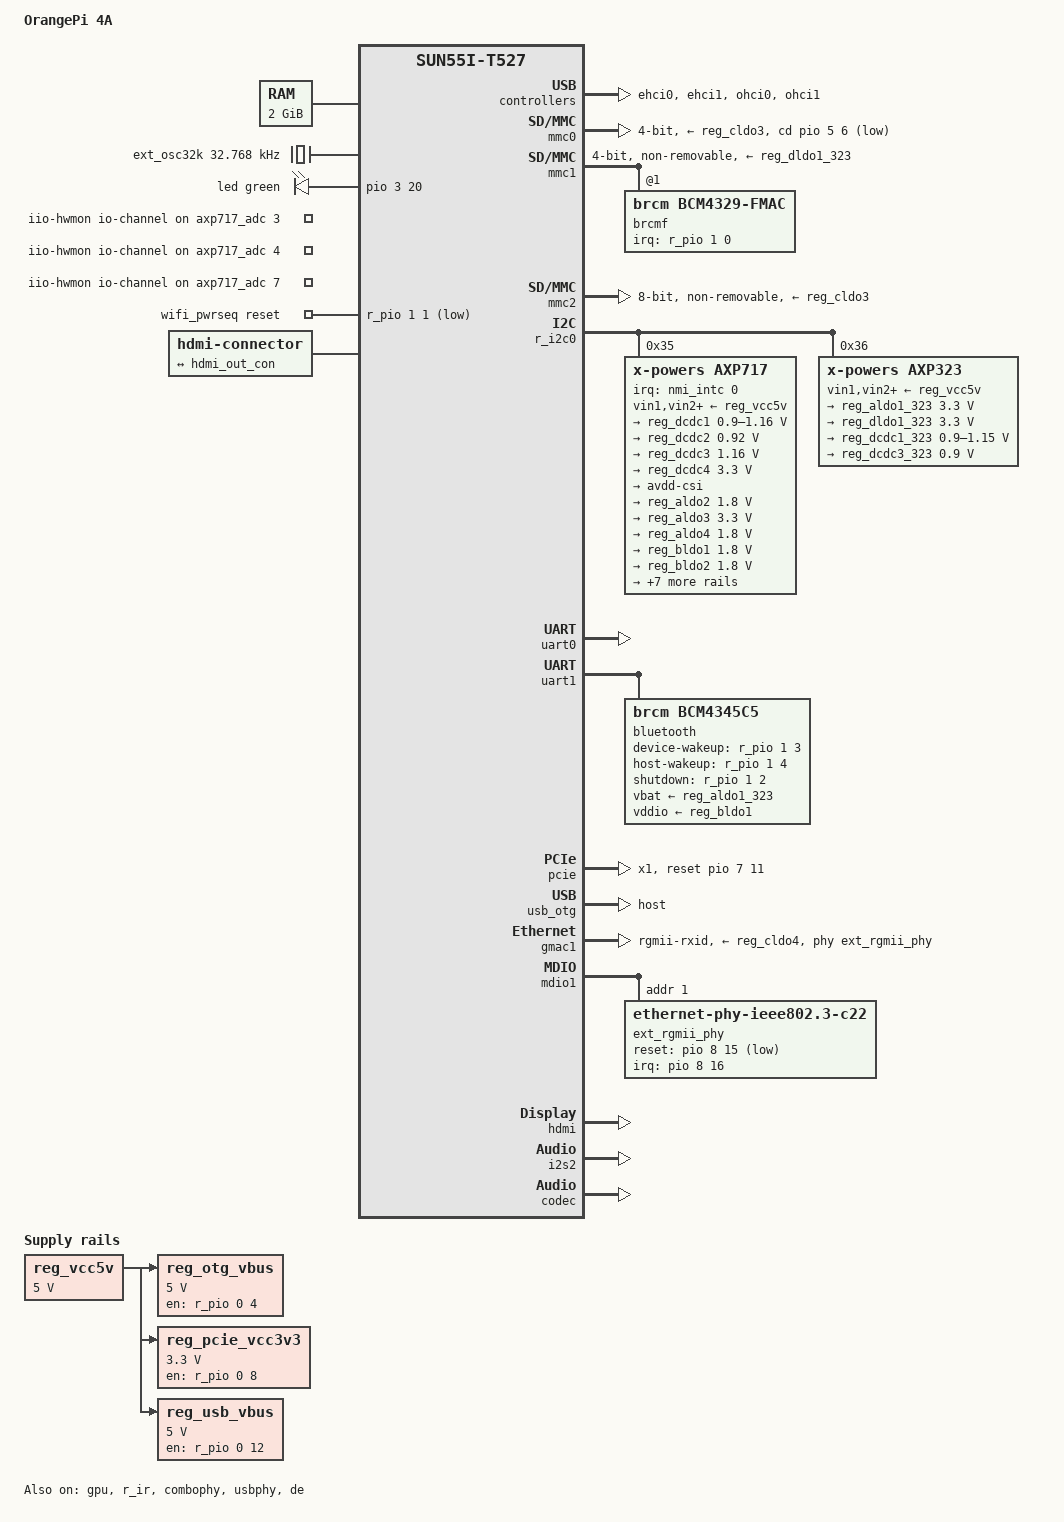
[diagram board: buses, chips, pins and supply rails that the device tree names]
// SPDX-License-Identifier: (GPL-2.0-only OR MIT)
/*
 * Copyright (C) 2025 Chen-Yu Tsai <wens@csie.org>
 */

/dts-v1/;

#include "sun55i-a523.dtsi"

#include <dt-bindings/gpio/gpio.h>
#include <dt-bindings/leds/common.h>

/ {
	model = "OrangePi 4A";
	compatible = "xunlong,orangepi-4a", "allwinner,sun55i-t527";

	aliases {
		serial0 = &uart0;
	};

	chosen {
		#address-cells = <2>;
		#size-cells = <2>;
		ranges;

		stdout-path = "serial0:115200n8";

		/*
		 * Display stage A: HDMI console via SIMPLEDRM using the FB that the
		 * vendor U-Boot leaves painted (logo), with the DE still scanning out after
		 * bootm. Address/size VERIFIED LIVE 2026-07-08: it is the
		 * memreserve that sunxi_drm_kernel_para_flush() adds to the FDT
		 * (/sys/firmware/fdt of the running 6.18): 0xbbea2000 + 0x3fc000
		 * = 5440 (stride) x 768 -> 1360x768 32bpp. NOTE: U-Boot picks the mode
		 * from the connected monitor; if the monitor changes,
		 * re-check against the memreserve in the live FDT. The real format is
		 * ARGB8888 (fb0 on 5.15); we declare x8r8g8b8 (same layout)
		 * so that DRM does not assume alpha blending.
		 */
		framebuffer@bbea2000 {
			compatible = "simple-framebuffer";
			reg = <0x0 0xbbea2000 0x0 0x003fc000>;
			memory-region = <&uboot_fb>;
			width = <1360>;
			height = <768>;
			stride = <5440>;
			format = "x8r8g8b8";
			/*
			 * Claim the display pipeline power domains that U-Boot left
			 * powered on. Without this, as soon as ALL the
			 * pck600 consumers have probed (e.g. panfrost as a
			 * module), its sync_state() sweeps the domains with no
			 * consumer and powers DE and VO0 off -> black screen half-way
			 * through boot (seen live 2026-07-08: DE/VO0 off-0 in
			 * pm_genpd_summary tras modprobe panfrost). simpledrm
			 * supports multiple power-domains and keeps them on.
			 */
			power-domains = <&pck600 PD_DE>, <&pck600 PD_VO0>;
		};
	};

	/*
	 * The vendor U-Boot (v2018.05-t527) does NOT fill in /memory (it assumes the DTB
	 * already carries it, like the vendor one). The mainline DTB left it empty -> the kernel
	 * boots without knowing where the RAM is -> instant silent hang, no
	 * heartbeat. Define a static /memory like the vendor DTB: base 0x40000000.
	 * (On a 2GB board use size 0x80000000 instead of 0x1 0x0.)
	 */
	memory@40000000 {
		device_type = "memory";
		/* OPi4A 2GB: base 0x40000000, size 0x80000000 (2 GiB) */
		reg = <0x0 0x40000000 0x0 0x80000000>;
	};

	/*
	 * The 5.15 BSP reserves this region for BL31 (ARM Trusted Firmware),
	 * the EL3 secure monitor that serves ALL PSCI calls (SMP core
	 * bring-up, idle, reset). The mainline DTB reserved nothing and its
	 * /memory (2GB from 0x40000000) covers 0x48000000 -> the kernel sees those
	 * 16 MB as free RAM, allocates pages there and OVERWRITES BL31. SMP
	 * starts before the heartbeat (BL31 still intact) -> 1 beat; right
	 * after that a PSCI call lands in corrupted code -> hang with the LED
	 * stuck. Reserving the region (like the BSP does) avoids it. no-map = the
	 * kernel does not even map it. The vendor U-Boot v2018 does not inject this
	 * reservation into a foreign DTB, so it has to be static here.
	 */
	reserved-memory {
		#address-cells = <2>;
		#size-cells = <2>;
		ranges;

		/*
		 * The vendor firmware (BL31 + OP-TEE + shared memory) uses SEVERAL
		 * regions that the vendor U-Boot reserves in the 5.15 FDT but NOT in
		 * our foreign DTB. Taken from /proc/iomem of the running 5.15. Reserving
		 * ONLY bl31 let the kernel overwrite OP-TEE/shm -> hang after
		 * 2 beats. Reserve all 4 (like the BSP).
		 */
		/*
		 * no-map on all four: without it they stay in the linear map and a
		 * SPECULATIVE CPU read of RAM protected by the
		 * secure firewall can raise sporadic SErrors even though the
		 * kernel never allocates them.
		 */
		sec-sram1@42350000 {
			reg = <0x0 0x42350000 0x0 0x00230000>;
			no-map;
		};

		sec-sram2@43000000 {
			reg = <0x0 0x43000000 0x0 0x00094000>;
			no-map;
		};

		bl31@48000000 {
			reg = <0x0 0x48000000 0x0 0x01000000>;
			no-map;
		};

		optee@4941d000 {
			reg = <0x0 0x4941d000 0x0 0x00be3000>;
			no-map;
		};

		/*
		 * U-Boot FB for the simple-framebuffer node in /chosen (see the
		 * comment there). U-Boot already adds a plain memreserve for this
		 * region, but that leaves it in the linear map, and on arm64 both
		 * memremap(WC) and ioremap_wc FAIL on mapped RAM ->
		 * simpledrm could not map it. no-map is MANDATORY.
		 */
		uboot_fb: framebuffer@bbea2000 {
			reg = <0x0 0xbbea2000 0x0 0x003fc000>;
			no-map;
		};
	};

	/*
	 * Stub nodes for the vendor U-Boot (v2018.05-t527): its bootm calls
	 * sunxi_drm_kernel_para_flush(), which looks up /soc/sunxi-drm and /soc/de in the
	 * FDT to inject its display parameters. The mainline DTB does not have
	 * them -> the fixup half-fails and corrupts the FDT -> the kernel hangs.
	 * With these empty nodes the fixup completes without error; the mainline kernel
	 * ignores them (no compatible). Do NOT touch U-Boot: the 5.15 BSP needs
	 * esas inyecciones.
	 */
	soc {
		sunxi-drm {
		};

		de {
		};
	};

	ext_osc32k: ext-osc32k-clk {
		#clock-cells = <0>;
		compatible = "fixed-clock";
		clock-frequency = <32768>;
		clock-output-names = "ext_osc32k";
	};

	leds {
		compatible = "gpio-leds";

		/* PWM capable pin, but PWM isn't supported yet. */
		led {
			function = LED_FUNCTION_STATUS;
			color = <LED_COLOR_ID_GREEN>;
			gpios = <&pio 3 20 GPIO_ACTIVE_HIGH>; /* PD20 */
			linux,default-trigger = "heartbeat";
		};
	};

	iio-hwmon {
		compatible = "iio-hwmon";
		io-channels = <&axp717_adc 3>, /* vsys_v */
			      <&axp717_adc 4>, /* pmic_temp */
			      <&axp717_adc 7>; /* bkup_batt_v */
	};

	wifi_pwrseq: pwrseq {
		compatible = "mmc-pwrseq-simple";
		reset-gpios = <&r_pio 1 1 GPIO_ACTIVE_LOW>; /* PM1 */
		clocks = <&rtc CLK_OSC32K_FANOUT>;
		clock-names = "ext_clock";
	};

	reg_otg_vbus: regulator-otg-vbus {
		compatible = "regulator-fixed";
		regulator-name = "otg-vbus";
		regulator-min-microvolt = <5000000>;
		regulator-max-microvolt = <5000000>;
		vin-supply = <&reg_vcc5v>;
		gpio = <&r_pio 0 4 GPIO_ACTIVE_HIGH>;	/* PL4 */
		enable-active-high;
		/*
		 * PL4 feeds the VBUS of port usbc0 (the 2 rear left
		 * USB-A ports). With no ID/CC pin, the OTG driver never got to enable
		 * VBUS -> those 2 ports stayed dead (otg-vbus=disabled).
		 * dr_mode=host: always-on is right for a
		 * host-only port. Confirmed on the board 2026-07-13: all 4 rear ports work.
		 */
		regulator-always-on;
	};

	reg_pcie_vcc3v3: regulator-pcie-vcc3v3 {
		compatible = "regulator-fixed";
		regulator-name = "vcc-pcie-3v3";
		regulator-min-microvolt = <3300000>;
		regulator-max-microvolt = <3300000>;
		vin-supply = <&reg_vcc5v>;
		gpio = <&r_pio 0 8 GPIO_ACTIVE_HIGH>;	/* PL8 */
		enable-active-high;
	};

	reg_usb_vbus: regulator-usb-vbus {
		compatible = "regulator-fixed";
		regulator-name = "usb-vbus";
		regulator-min-microvolt = <5000000>;
		regulator-max-microvolt = <5000000>;
		vin-supply = <&reg_vcc5v>;
		gpio = <&r_pio 0 12 GPIO_ACTIVE_HIGH>;	/* PL12 */
		enable-active-high;
	};

	reg_vcc5v: regulator-vcc5v {
		/* board wide 5V supply from USB type-C port */
		compatible = "regulator-fixed";
		regulator-name = "vcc-5v";
		regulator-min-microvolt = <5000000>;
		regulator-max-microvolt = <5000000>;
		regulator-always-on;
	};
};

/ {
	/*
	 * OPP tables, voltages taken verbatim from the vendor DT
	 * (sun55iw3p1.dtsi), using the worst-case voltage across speed bins
	 * for each frequency so a plain cpufreq-dt (no speed-bin nvmem) is
	 * safe on any chip. Both clusters run to their vendor maximums for
	 * this board's silicon: little 1.416 GHz, big 1.8 GHz (see the speed
	 * bin note in the cluster1 table; 1.992 GHz exists only for bin
	 * vf0400 and needs 1.22 V, beyond this rail's 1.15 V maximum).
	 *
	 * The lowest point is 480 MHz instead of the vendor's 408 MHz: the
	 * CPU PLLs are modelled as plain 24 MHz * N (N >= 20, post-divider
	 * left at /1 by the firmware), so 480 MHz is the real floor. Its
	 * 0.90 V sits within the vendor envelope (408 and 672 MHz both run
	 * at 0.90 V on every speed bin).
	 */
	/*
	 * DCDC1 (vdd-cpul) does not power this cluster alone: the DSU (the
	 * DynamIQ Shared Unit, i.e. the coherent interconnect and the shared
	 * L3) hangs off the very same rail. Each OPP therefore declares a
	 * range instead of an exact voltage. opp_parse_supplies() turns a
	 * single value into u_volt_min == u_volt_max, and with that
	 * regulator_check_consumers() aggregates to min > max and fails the
	 * transition with -EINVAL the moment the other consumer of the rail
	 * asks for a different voltage. The upper bound is 1.15 V, the
	 * highest voltage the vendor tables ever put on this rail.
	 */
	cluster0_opp: opp-table-cluster0 {
		compatible = "operating-points-v2";
		opp-shared;

		opp-480000000 {
			opp-hz = /bits/ 64 <480000000>;
			opp-microvolt = <900000 900000 1150000>;
		};

		opp-792000000 {
			opp-hz = /bits/ 64 <792000000>;
			opp-microvolt = <900000 900000 1150000>;
		};

		opp-1008000000 {
			opp-hz = /bits/ 64 <1008000000>;
			opp-microvolt = <960000 960000 1150000>;
		};

		opp-1224000000 {
			opp-hz = /bits/ 64 <1224000000>;
			opp-microvolt = <1050000 1050000 1150000>;
		};

		opp-1416000000 {
			opp-hz = /bits/ 64 <1416000000>;
			opp-microvolt = <1150000 1150000 1150000>;
		};
	};

	cluster1_opp: opp-table-cluster1 {
		compatible = "operating-points-v2";
		opp-shared;

		opp-480000000 {
			opp-hz = /bits/ 64 <480000000>;
			opp-microvolt = <900000>;
		};

		opp-1008000000 {
			opp-hz = /bits/ 64 <1008000000>;
			opp-microvolt = <900000>;
		};

		opp-1200000000 {
			opp-hz = /bits/ 64 <1200000000>;
			opp-microvolt = <920000>;
		};

		opp-1344000000 {
			opp-hz = /bits/ 64 <1344000000>;
			opp-microvolt = <960000>;
		};

		opp-1488000000 {
			opp-hz = /bits/ 64 <1488000000>;
			opp-microvolt = <1000000>;
		};

		opp-1584000000 {
			opp-hz = /bits/ 64 <1584000000>;
			opp-microvolt = <1050000>;
		};

		/*
		 * 1680/1800 MHz are fused off on vf05xx speed bins (their
		 * vendor-table entries are <0>: not allowed at any voltage).
		 * This board's chip reads bin vf0100 from the SID DVFS word
		 * (0x48 = 0x19 -> combi 0x01), which supports both. A generic
		 * image for unknown silicon must drop these two entries or
		 * gate them on the SID speed bin (sun50i-cpufreq-nvmem style).
		 */
		opp-1680000000 {
			opp-hz = /bits/ 64 <1680000000>;
			opp-microvolt = <1100000>;
		};

		opp-1800000000 {
			opp-hz = /bits/ 64 <1800000000>;
			opp-microvolt = <1150000>;
		};
	};

	/*
	 * GPU OPPs: the five speed-bin-independent points of the vendor
	 * table, plus 696 MHz, which the vendor table gates by SID speed
	 * bin: this board's chip reads dvfs efuse 0x19 (combi 0x01 -> GPU
	 * bin 1), for which the vendor sanctions 696 MHz at 0.90 V.
	 * The five common points divide exactly from the fixed pll-periph0
	 * outputs; 696 MHz instead needs pll-gpu as a live parent, so
	 * pll-gpu is pinned at 696 MHz via assigned-clock-rates below and
	 * only gets enabled while the 696 MHz OPP is selected.
	 *
	 * The vendor table asks for 0.90 V on every point; this board's
	 * vdd-gpu-sys rail (AXP717 DCDC2) is fixed at 0.92 V, so the OPPs
	 * state 0.92 V and voltage transitions are no-ops. The value cannot
	 * be dropped: the OPP core rejects a voltage-less table once
	 * panfrost attaches the mali-supply regulator.
	 */
	gpu_opp_table: opp-table-gpu {
		compatible = "operating-points-v2";

		opp-150000000 {
			opp-hz = /bits/ 64 <150000000>;
			opp-microvolt = <920000>;
		};

		opp-200000000 {
			opp-hz = /bits/ 64 <200000000>;
			opp-microvolt = <920000>;
		};

		opp-300000000 {
			opp-hz = /bits/ 64 <300000000>;
			opp-microvolt = <920000>;
		};

		opp-400000000 {
			opp-hz = /bits/ 64 <400000000>;
			opp-microvolt = <920000>;
		};

		opp-600000000 {
			opp-hz = /bits/ 64 <600000000>;
			opp-microvolt = <920000>;
		};

		opp-696000000 {
			opp-hz = /bits/ 64 <696000000>;
			opp-microvolt = <920000>;
		};
	};
};

/* Little cluster (cpu0-3): AXP717 DCDC1 (vdd-cpul), up to 1.416 GHz. */
&cpu0 {
	cpu-supply = <&reg_dcdc1>;
	operating-points-v2 = <&cluster0_opp>;
};

&cpu1 {
	cpu-supply = <&reg_dcdc1>;
	operating-points-v2 = <&cluster0_opp>;
};

&cpu2 {
	cpu-supply = <&reg_dcdc1>;
	operating-points-v2 = <&cluster0_opp>;
};

&cpu3 {
	cpu-supply = <&reg_dcdc1>;
	operating-points-v2 = <&cluster0_opp>;
};

/* Big cluster (cpu4-7): AXP323 DCDC1 (vdd-cpub), up to 1.8 GHz (bin vf0100). */
&cpu4 {
	cpu-supply = <&reg_dcdc1_323>;
	operating-points-v2 = <&cluster1_opp>;
};

&cpu5 {
	cpu-supply = <&reg_dcdc1_323>;
	operating-points-v2 = <&cluster1_opp>;
};

&cpu6 {
	cpu-supply = <&reg_dcdc1_323>;
	operating-points-v2 = <&cluster1_opp>;
};

&cpu7 {
	cpu-supply = <&reg_dcdc1_323>;
	operating-points-v2 = <&cluster1_opp>;
};

&ehci0 {
	status = "okay";
};

&ehci1 {
	status = "okay";
};

&gpu {
	mali-supply = <&reg_dcdc2>;
	operating-points-v2 = <&gpu_opp_table>;
	assigned-clocks = <&ccu CLK_PLL_GPU>;
	assigned-clock-rates = <696000000>;
	status = "okay";
};

&mmc0 {
	vmmc-supply = <&reg_cldo3>;
	cd-gpios = <&pio 5 6 (GPIO_ACTIVE_LOW | GPIO_PULL_UP)>; /* PF6 */
	bus-width = <4>;
	status = "okay";
};

&mmc1 {
	bus-width = <4>;
	mmc-pwrseq = <&wifi_pwrseq>;
	non-removable;
	vmmc-supply = <&reg_dldo1_323>;
	vqmmc-supply = <&reg_bldo1>;
	status = "okay";

	brcmf: wifi@1 {
		compatible = "brcm,bcm4329-fmac";
		reg = <1>;
		interrupt-parent = <&r_pio>;
		interrupts = <1 0 IRQ_TYPE_LEVEL_LOW>; /* PM0 */
		interrupt-names = "host-wake";
	};
};

&mmc2 {
	bus-width = <8>;
	cap-mmc-hw-reset;
	mmc-ddr-1_8v;
	mmc-hs200-1_8v;
	non-removable;
	vmmc-supply = <&reg_cldo3>;
	vqmmc-supply = <&reg_cldo1>;
	status = "okay";
};

&ohci0 {
	status = "okay";
};

&ohci1 {
	status = "okay";
};

&pio {
	vcc-pb-supply = <&reg_cldo3>;	/* via VCC-IO */
	vcc-pc-supply = <&reg_cldo1>;
	vcc-pd-supply = <&reg_cldo3>;
	vcc-pe-supply = <&reg_aldo2>;
	vcc-pf-supply = <&reg_cldo3>;	/* VCC-IO for 3.3v; VCC-MCSI for 1.8v */
	vcc-pg-supply = <&reg_bldo1>;
	vcc-ph-supply = <&reg_cldo3>;	/* via VCC-IO */
	vcc-pi-supply = <&reg_cldo3>;
	vcc-pj-supply = <&reg_cldo1>;
	vcc-pk-supply = <&reg_cldo1>;
};

&r_ir {
	pinctrl-names = "default";
	pinctrl-0 = <&r_ir_rx_pin>;
	status = "okay";
};

&r_i2c0 {
	status = "okay";

	axp717: pmic@35 {
		compatible = "x-powers,axp717";
		reg = <0x35>;
		interrupt-controller;
		#interrupt-cells = <1>;
		interrupts-extended = <&nmi_intc 0 IRQ_TYPE_LEVEL_LOW>;

		vin1-supply = <&reg_vcc5v>;
		vin2-supply = <&reg_vcc5v>;
		vin3-supply = <&reg_vcc5v>;
		vin4-supply = <&reg_vcc5v>;
		aldoin-supply = <&reg_vcc5v>;
		bldoin-supply = <&reg_vcc5v>;
		cldoin-supply = <&reg_vcc5v>;

		axp717_adc: adc {
			compatible = "x-powers,axp717-adc";
			#io-channel-cells = <1>;
		};

		battery-power {
			compatible = "x-powers,axp717-battery-power-supply";
			/* no battery; output used for dcdc4 instead */
			status = "disabled";
		};

		regulators {
			/* Supplies the "little" cluster (1.4 GHz cores) */
			reg_dcdc1: dcdc1 {
				regulator-always-on;
				regulator-min-microvolt = <900000>;
				regulator-max-microvolt = <1160000>;
				regulator-name = "vdd-cpul";
			};

			reg_dcdc2: dcdc2 {
				regulator-always-on;
				regulator-min-microvolt = <920000>;
				regulator-max-microvolt = <920000>;
				regulator-name = "vdd-gpu-sys";
			};

			reg_dcdc3: dcdc3 {
				regulator-always-on;
				regulator-min-microvolt = <1160000>;
				regulator-max-microvolt = <1160000>;
				regulator-name = "vcc-dram";
			};

			reg_dcdc4: dcdc4 {
				/* feeds 3.3V pin on GPIO header */
				regulator-always-on;
				regulator-min-microvolt = <3300000>;
				regulator-max-microvolt = <3300000>;
				regulator-name = "vdd-io";
			};

			aldo1 {
				/* not actually connected */
				regulator-name = "avdd-csi";
			};

			reg_aldo2: aldo2 {
				regulator-min-microvolt = <1800000>;
				regulator-max-microvolt = <1800000>;
				regulator-name = "vcc-pe";
			};

			reg_aldo3: aldo3 {
				/* supplies the I2C pins for this PMIC */
				regulator-always-on;
				regulator-min-microvolt = <3300000>;
				regulator-max-microvolt = <3300000>;
				regulator-name = "vcc-pl-usb";
			};

			reg_aldo4: aldo4 {
				regulator-always-on;
				regulator-min-microvolt = <1800000>;
				regulator-max-microvolt = <1800000>;
				regulator-name = "vcc-pll-dxco-avcc";
			};

			reg_bldo1: bldo1 {
				regulator-min-microvolt = <1800000>;
				regulator-max-microvolt = <1800000>;
				regulator-name = "vcc-pg-wifi";
			};

			reg_bldo2: bldo2 {
				regulator-always-on;
				regulator-min-microvolt = <1800000>;
				regulator-max-microvolt = <1800000>;
				regulator-name = "vcc-pm-lpddr";
			};

			bldo3 {
				/* not actually connected */
				regulator-name = "afvcc-csi";
			};

			bldo4 {
				/* not actually connected */
				regulator-name = "dvdd-csi";
			};

			reg_cldo1: cldo1 {
				regulator-always-on;
				regulator-min-microvolt = <1800000>;
				regulator-max-microvolt = <1800000>;
				regulator-name = "vcc-cvp-pc-lvds-mcsi-pk-efuse-pcie-edp-1v8";
			};

			reg_cldo2: cldo2 {
				regulator-min-microvolt = <3300000>;
				regulator-max-microvolt = <3300000>;
				regulator-name = "vcc3v3-csi";
			};

			reg_cldo3: cldo3 {
				regulator-always-on;
				regulator-min-microvolt = <3300000>;
				regulator-max-microvolt = <3300000>;
				regulator-name = "vcc-io-mmc-nand-pd-pi-usb";
			};

			reg_cldo4: cldo4 {
				regulator-min-microvolt = <3300000>;
				regulator-max-microvolt = <3300000>;
				regulator-name = "vcc-3v3-phy1-lcd";
			};

			reg_cpusldo: cpusldo {
				/* supplies the management core */
				regulator-always-on;
				regulator-min-microvolt = <900000>;
				regulator-max-microvolt = <900000>;
				regulator-name = "vdd-cpus-usb-0v9";
			};
		};

		usb-power {
			compatible = "x-powers,axp717-usb-power-supply";
			input-current-limit-microamp = <3000000>;
		};
	};

	axp323: pmic@36 {
		compatible = "x-powers,axp323";
		reg = <0x36>;
		#interrupt-cells = <1>;
		interrupt-controller;
		status = "okay";

		vin1-supply = <&reg_vcc5v>;
		vin2-supply = <&reg_vcc5v>;
		vin3-supply = <&reg_vcc5v>;

		regulators {
			reg_aldo1_323: aldo1 {
				/* less capable and shares load with dldo1 */
				regulator-min-microvolt = <3300000>;
				regulator-max-microvolt = <3300000>;
				regulator-name = "vcc-wifi";
			};

			reg_dldo1_323: dldo1 {
				/* more capable and shares load with aldo1 */
				regulator-min-microvolt = <3300000>;
				regulator-max-microvolt = <3300000>;
				regulator-name = "vcc-wifi2";
			};

			/* Supplies the "big" cluster (1.8 GHz cores) */
			reg_dcdc1_323: dcdc1 {
				regulator-always-on;
				regulator-min-microvolt = <900000>;
				regulator-max-microvolt = <1150000>;
				regulator-name = "vdd-cpub";
			};

			/* DCDC2 is polyphased with DCDC1 */

			/* Some RISC-V management core related voltage */
			reg_dcdc3_323: dcdc3 {
				regulator-always-on;
				regulator-min-microvolt = <900000>;
				regulator-max-microvolt = <900000>;
				regulator-name = "vdd-dnr";
			};
		};
	};
};

&r_pio {
/*
 * Specifying the supply would create a circular dependency.
 *
 *	vcc-pl-supply = <&reg_aldo3>;
 */
	vcc-pm-supply = <&reg_bldo2>;
};

&rtc {
	clocks = <&r_ccu CLK_BUS_R_RTC>, <&osc24M>,
		 <&r_ccu CLK_R_AHB>, <&ext_osc32k>;
	clock-names = "bus", "hosc", "ahb", "ext-osc32k";
	assigned-clocks = <&rtc CLK_OSC32K>;
	assigned-clock-rates = <32768>;
};

&uart0 {
	pinctrl-names = "default";
	pinctrl-0 = <&uart0_pb_pins>;
	status = "okay";
};

&uart1 {
	pinctrl-names = "default";
	pinctrl-0 = <&uart1_pins>, <&uart1_rts_cts_pins>;
	uart-has-rtscts;
	status = "okay";

	bluetooth {
		compatible = "brcm,bcm4345c5";
		clocks = <&rtc CLK_OSC32K_FANOUT>;
		clock-names = "lpo";
		vbat-supply = <&reg_aldo1_323>;
		vddio-supply = <&reg_bldo1>;
		device-wakeup-gpios = <&r_pio 1 3 GPIO_ACTIVE_HIGH>; /* PM3 */
		host-wakeup-gpios = <&r_pio 1 4 GPIO_ACTIVE_HIGH>; /* PM4 */
		shutdown-gpios = <&r_pio 1 2 GPIO_ACTIVE_HIGH>; /* PM2 */
	};
};

&combophy {
	resets = <&ccu RST_BUS_PCIE_USB3>;
	phy_use_sel = <0>; /* 0:PCIE; 1:USB3 */
	status = "okay";
};

&pcie {
	reset-gpios = <&pio 7 11 GPIO_ACTIVE_HIGH>; /* PH11, PERST# */
	wake-gpios = <&pio 7 12 GPIO_ACTIVE_HIGH>;  /* PH12, WAKE# */
	num-lanes = <1>;
	clk-freq-100M;
	pcie3v3-supply = <&reg_pcie_vcc3v3>;
	status = "okay";
};

&usb_otg {
	/*
	 * The OTG controller is connected to one of the type-A ports.
	 * There is a regulator, controlled by a GPIO, to provide VBUS power
	 * to the port, and a VBUSDET GPIO, to detect externally provided
	 * power. But without ID or CC pins there is no real way to do a
	 * runtime role detection.
	 */
	dr_mode = "host";
	status = "okay";
};

&usbphy {
	usb0_vbus-supply = <&reg_otg_vbus>;
	usb0_vbus_det-gpios = <&r_pio 0 7 GPIO_ACTIVE_HIGH>; /* PL7 */
	usb1_vbus-supply = <&reg_usb_vbus>;
	status = "okay";
};

&gmac1 {
	/* RGMII config validated live (2026-07-08) after fixing the
	 * withstand mode of bank PJ (1.8V rail, receiver in 3.3V mode = RX
	 * deaf; see a523_pio_fix_withstand in pinctrl-sun55i-a523.c).
	 * The PHY adds ~1.9ns of delay on RXC (rgmii-rxid + property in the
	 * PHY node); the MAC syscon only adds 100ps of TX (BSP: tx-delay=1).
	 * Resultado: 1Gbps/Full, ping 0% loss. */
	phy-mode = "rgmii-rxid";
	phy-handle = <&ext_rgmii_phy>;
	phy-supply = <&reg_cldo4>;
	tx-internal-delay-ps = <100>;
	rx-internal-delay-ps = <0>;
	status = "okay";
};

&mdio1 {
	ext_rgmii_phy: ethernet-phy@1 {
		compatible = "ethernet-phy-ieee802.3-c22";
		reg = <1>;
		/* RX clock delay in the YT8531 PHY itself (RXC_DLY_EN,
		 * ~1.9ns). The motorcomm driver reads this property FROM THE
		 * PHY NODE and only applies it with phy-mode rgmii-rxid/id. */
		rx-internal-delay-ps = <1900>;
		/* The BSP disables auto-sleep unconditionally. */
		motorcomm,auto-sleep-disabled;
		interrupts-extended = <&pio 8 16 IRQ_TYPE_LEVEL_LOW>; /* PI16 */
		reset-gpios = <&pio 8 15 GPIO_ACTIVE_LOW>; /* PI15 */
		reset-assert-us = <10000>;
		reset-deassert-us = <150000>;
	};
};

/*
 * ETAPA C display: pipeline KMS real (DE3.5 RCQ -> TCON-TV -> DW-HDMI+PHY Inno).
 * Adaptation of the minimyth2 2903 enable to this dts (which already has
 * reserved-memory with bl31+uboot_fb and the simpledrm boot framebuffer).
 */
/ {
	hdmi-connector {
		compatible = "hdmi-connector";
		type = "a";

		port {
			hdmi_con_in: endpoint {
				remote-endpoint = <&hdmi_out_con>;
			};
		};
	};
};

/*
 * The DE's DMA (scanout and RCQ pool) only reaches VERY low DRAM: the original
 * patch (X96Q, same die) notes that 0x43000000 is reachable but
 * 0x4b100000 is NOT. With the previous window (up to 0x70000000) the CMA landed
 * at 0x60000000 -> fetch outside the aperture -> interconnect hang
 * half-way through boot (boot 2, half-dead board). Strict window, like the
 * tested layout: 0x43000000-0x48000000 (after the kernel, before bl31),
 * 64MB (enough for the bring-up's dumb buffers/fbcon).
 */
&{/reserved-memory} {
	cma_low: linux,cma {
		compatible = "shared-dma-pool";
		reusable;
		size = <0x0 0x04000000>;
		alloc-ranges = <0x0 0x43000000 0x0 0x05000000>;
		linux,cma-default;
	};
};

/*
 * The DE's RCQ pool is allocated with dma_alloc_coherent on the
 * mixer device; being small it does not come from the global CMA and landed in high pages
 * outside the DE aperture (RCQ_HEAD 0x52100000 observed -> the RCQ DMA
 * read garbage and the datapath was never configured: green screen).
 * memory-region ties the mixer's coherent reservations to the low CMA
 * (sun55i_de calls of_reserved_mem_device_init if uses_rcq).
 */
&mixer0 {
	memory-region = <&cma_low>;
};

/*
 * DISPLAY BRING-UP: the display-engine (drm->dev) inherits IOMMU master 5
 * so that scanout GEMs and PRIME imports (kbase, not contiguous)
 * are allocated/mapped as translated IOVAs. It is the DT equivalent of
 * the BSP's of_dma_configure(drm->dev, DE_node) (sunxi_de.c:1262): with the
 * master 5 bypass removed ALL DE traffic is translated, so
 * an unmapped physical scanout would no longer show.
 */
&de {
	status = "okay";
	iommus = <&iommu 5>;
};

&hdmi {
	status = "okay";
};

&hdmi_out {
	hdmi_out_con: endpoint {
		remote-endpoint = <&hdmi_con_in>;
	};
};

/*
 * Changes from the audit against the 5.15 BSP:
 * - The BSP hangs vo0/tcon off the VO0 island (A523_PCK_VO0); the patch's
 *   dtsi only claims it from the hdmi node. Claiming it also in
 *   tcon-top and tcon-tv avoids touching registers with the island off and
 *   protects against the sync_state sweep (it already bit with simpledrm).
 * - The BSP sets CLK_DE to 600 MHz under PLL_VIDEO3_4X
 *   (assigned-clocks of the BSP's de@5000000 node); the patch's dtsi
 *   set no rate and the mux could stay on the reset parent.
 */
&tcon_top {
	power-domains = <&pck600 PD_VO0>;
};

&tcon_tv0 {
	power-domains = <&pck600 PD_VO0>;
};

&display_clocks {
	assigned-clocks = <&ccu CLK_DE>;
	assigned-clock-parents = <&ccu CLK_PLL_VIDEO3_4X>;
	assigned-clock-rates = <600000000>;
};

/*
 * DISPLAY BRING-UP: mixer iommus re-enabled (the dtsi already has
 * iommus = <&iommu 5>). The driver now carries the BSP's v15 recipe
 * (range invalidation + vendor prefetch) and diagnostic guards
 * against the corrupt DTE of the boot Oops.
 */

/*
 * HDMI AUDIO (the 5.15 BSP recipe): the BSP sends the audio
 * HDMI through I2S2 (i2s2_plat@7114000, dma1 req 5, card "sndhdmi",
 * i2s format, 2 slots of 32 bits, CPU master, no MCLK) to the
 * I2S input of the DW-HDMI (internal SoC wiring, no pinctrl). In mainline the
 * equivalent is sun4i-i2s (r329 fallback, same register layout) +
 * dw-hdmi-i2s-audio (the core already registers the codec: CONFIG3 has GPAUD,
 * verified live) + simple-audio-card, rk3328 pattern. The i2s2 and
 * mcu_dma nodes are upstream master's (Chen-Yu Tsai's A523 I2S series),
 * except dma-channels=8, which is what the BSP dts says (upstream has 16).
 * mclk-fs=128: the DW-HDMI does not consume MCLK but sun4i-i2s derives from it the
 * BCLK dividers.
 */
&i2s2 {
	status = "okay";
};

/ {
	hdmi_sound: hdmi-sound {
		compatible = "simple-audio-card";
		simple-audio-card,name = "sndhdmi";
		simple-audio-card,format = "i2s";
		simple-audio-card,mclk-fs = <128>;

		/*
		 * ALWAYS 32-bit slots (like the BSP: soundcard-mach,
		 * slot-width = <32>): dw-hdmi-i2s-audio hardcodea
		 * AUD_INPUTCLKFS=64fs, and without this, with S16, sun4i-i2s
		 * generates 32fs frames (16-bit slot) -> the DW-HDMI samples
		 * the frame wrongly and the sink receives SILENCE (verified on the
		 * board: S32 played, S16 did not; TXCNT advanced in both).
		 */
		simple-audio-card,cpu {
			sound-dai = <&i2s2>;
			dai-tdm-slot-num = <2>;
			dai-tdm-slot-width = <32>;
		};

		simple-audio-card,codec {
			sound-dai = <&hdmi>;
		};
	};
};

/*
 * ANALOG AUDIO (A523 internal codec, the 5.15 BSP recipe): 3.5 mm
 * jack (HPOUT + jack detect on IRQ 190), line-out, 3 mic inputs and an
 * external speaker amplifier on PH6 (active high, no delay, BSP node
 * pa-pin-0). The regulators are those of the &codec node in the board's BSP
 * dts: avcc=aldo4 1.8V, vdd=cldo3 3.3V, cpvin=cldo1 1.8V (HP charge
 * pump). The board's gains/volumes == the BSP driver defaults, so they are
 * hard-wired in the driver. jack-det-level=1 and threshold=8 are the mainline
 * driver defaults, no need to declare them.
 */
&codec {
	avcc-supply = <&reg_aldo4>;
	vdd-supply = <&reg_cldo3>;
	cpvin-supply = <&reg_cldo1>;
	allwinner,pa-gpios = <&pio 7 6 GPIO_ACTIVE_HIGH>; /* PH6 */
	status = "okay";
};
